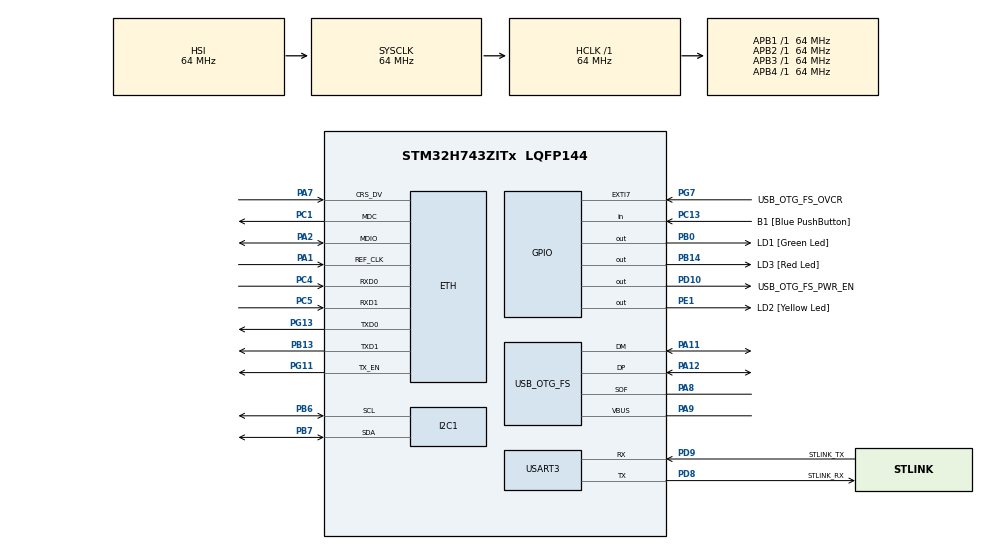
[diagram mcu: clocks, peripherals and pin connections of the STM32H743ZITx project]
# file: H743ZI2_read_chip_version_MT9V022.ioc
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ETH.MediaInterface=HAL_ETH_RMII_MODE
Mcu.Family=STM32H7
Mcu.Name=STM32H743ZITx
Mcu.Package=LQFP144
NVIC.PriorityGroup=NVIC_PRIORITYGROUP_4
PA1.Mode=RMII
PA1.Signal=ETH_REF_CLK
PA11.Mode=Device_Only
PA11.Signal=USB_OTG_FS_DM
PA12.Mode=Device_Only
PA12.Signal=USB_OTG_FS_DP
PA2.Mode=RMII
PA2.Signal=ETH_MDIO
PA7.Mode=RMII
PA7.Signal=ETH_CRS_DV
PA8.Mode=Activate_SOF_FS
PA8.Signal=USB_OTG_FS_SOF
PA9.Mode=Activate_VBUS
PA9.Signal=USB_OTG_FS_VBUS
PB0.GPIO_Label=LD1 [Green Led]
PB0.Signal=GPIO_Output
PB13.Mode=RMII
PB13.Signal=ETH_TXD1
PB14.GPIO_Label=LD3 [Red Led]
PB14.Signal=GPIO_Output
PB6.Mode=I2C
PB6.Signal=I2C1_SCL
PB7.Mode=I2C
PB7.Signal=I2C1_SDA
PC1.Mode=RMII
PC1.Signal=ETH_MDC
PC13.GPIO_Label=B1 [Blue PushButton]
PC13.Signal=GPIO_Input
PC14-OSC32_IN\ (OSC32_IN).Mode=LSE-External-Oscillator
PC14-OSC32_IN\ (OSC32_IN).Signal=RCC_OSC32_IN
PC15-OSC32_OUT\ (OSC32_OUT).Mode=LSE-External-Oscillator
PC15-OSC32_OUT\ (OSC32_OUT).Signal=RCC_OSC32_OUT
PC4.Mode=RMII
PC4.Signal=ETH_RXD0
PC5.Mode=RMII
PC5.Signal=ETH_RXD1
PD10.GPIO_Label=USB_OTG_FS_PWR_EN
PD10.Signal=GPIO_Output
PD8.GPIO_Label=STLINK_RX
PD8.Mode=Asynchronous
PD8.Signal=USART3_TX
PD9.GPIO_Label=STLINK_TX
PD9.Mode=Asynchronous
PD9.Signal=USART3_RX
PE1.GPIO_Label=LD2 [Yellow Led]
PE1.Signal=GPIO_Output
PG11.Mode=RMII
PG11.Signal=ETH_TX_EN
PG13.Mode=RMII
PG13.Signal=ETH_TXD0
PG7.GPIO_Label=USB_OTG_FS_OVCR
PG7.Signal=GPXTI7
PH0-OSC_IN\ (PH0).Mode=HSE-External-Clock-Source
PH0-OSC_IN\ (PH0).Signal=RCC_OSC_IN
PH1-OSC_OUT\ (PH1).Signal=RCC_OSC_OUT
ProjectManager.HeapSize=0x200
ProjectManager.StackSize=0x400
ProjectManager.TargetToolchain=STM32CubeIDE
RCC.ADCFreq_Value=16125000
RCC.APB1Freq_Value=64000000
RCC.APB2Freq_Value=64000000
RCC.APB3Freq_Value=64000000
RCC.APB4Freq_Value=64000000
RCC.CortexFreq_Value=64000000
RCC.DIVM1=1
RCC.DIVN1=24
RCC.DIVQ1=4
RCC.HCLKFreq_Value=64000000
RCC.HSE_VALUE=8000000
RCC.PLLFRACN=0
RCC.PWR_Regulator_Voltage_Scale=PWR_REGULATOR_VOLTAGE_SCALE2
RCC.SYSCLKFreq_VALUE=64000000
RCC.USBFreq_Value=48000000
USART3.VirtualMode-Asynchronous=VM_ASYNC
USB_OTG_FS.VirtualMode=Device_Only
board=NUCLEO-H743ZI2

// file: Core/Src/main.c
/* USER CODE BEGIN Header */
/**
  ******************************************************************************
  * @file           : main.c
  * @brief          : Main program body
  ******************************************************************************
  * @attention
  *
  * Copyright (c) 2022 STMicroelectronics.
  * All rights reserved.
  *
  * This software is licensed under terms that can be found in the LICENSE file
  * in the root directory of this software component.
  * If no LICENSE file comes with this software, it is provided AS-IS.
  *
  ******************************************************************************
  */
/* USER CODE END Header */
#include "main.h"
#include "string.h"

/* USER CODE BEGIN Includes */
#include <stdio.h>
/* USER CODE END Includes */

#if defined ( __ICCARM__ ) /*!< IAR Compiler */
#pragma location=0x30000000
ETH_DMADescTypeDef  DMARxDscrTab[ETH_RX_DESC_CNT]; /* Ethernet Rx DMA Descriptors */
#pragma location=0x30000200
ETH_DMADescTypeDef  DMATxDscrTab[ETH_TX_DESC_CNT]; /* Ethernet Tx DMA Descriptors */

#elif defined ( __CC_ARM )  /* MDK ARM Compiler */

__attribute__((at(0x30000000))) ETH_DMADescTypeDef  DMARxDscrTab[ETH_RX_DESC_CNT]; /* Ethernet Rx DMA Descriptors */
__attribute__((at(0x30000200))) ETH_DMADescTypeDef  DMATxDscrTab[ETH_TX_DESC_CNT]; /* Ethernet Tx DMA Descriptors */

#elif defined ( __GNUC__ ) /* GNU Compiler */
ETH_DMADescTypeDef DMARxDscrTab[ETH_RX_DESC_CNT] __attribute__((section(".RxDecripSection"))); /* Ethernet Rx DMA Descriptors */
ETH_DMADescTypeDef DMATxDscrTab[ETH_TX_DESC_CNT] __attribute__((section(".TxDecripSection")));   /* Ethernet Tx DMA Descriptors */

#endif

ETH_TxPacketConfig TxConfig;

ETH_HandleTypeDef heth;

I2C_HandleTypeDef hi2c1;

UART_HandleTypeDef huart3;

PCD_HandleTypeDef hpcd_USB_OTG_FS;

void SystemClock_Config(void);
static void MX_GPIO_Init(void);
static void MX_ETH_Init(void);
static void MX_USART3_UART_Init(void);
static void MX_USB_OTG_FS_PCD_Init(void);
static void MX_I2C1_Init(void);
/* USER CODE BEGIN PFP */
HAL_StatusTypeDef read_reg(uint8_t devaddr, uint8_t regaddr, uint8_t *buf);
HAL_StatusTypeDef write_reg(uint8_t devaddr, uint8_t regaddr, uint8_t val);
/* USER CODE END PFP */

int main(void)
{
  /* USER CODE BEGIN 1 */
  const uint8_t CAM_ADDR_R = 0x61; // camera address
  const uint8_t HSIZE_REGADDR = 0x51;
  uint8_t buf[20];
  HAL_StatusTypeDef ret;
  /* USER CODE END 1 */

  /* MCU Configuration--------------------------------------------------------*/

  /* Reset of all peripherals, Initializes the Flash interface and the Systick. */
  HAL_Init();

  /* Configure the system clock */
  SystemClock_Config();

  /* Initialize all configured peripherals */
  MX_GPIO_Init();
  MX_ETH_Init();
  MX_USART3_UART_Init();
  MX_USB_OTG_FS_PCD_Init();
  MX_I2C1_Init();

  /* Infinite loop */
  /* USER CODE BEGIN WHILE */
  while (1)
  {
//	write_reg(CAM_ADDR_R, HSIZE_REGADDR, 0xFF);
//	read_reg(CAM_ADDR_R, HSIZE_REGADDR, buf);
	  buf[0] = 0x40;
	  ret = HAL_I2C_Mem_Write(&hi2c1, CAM_ADDR_R, HSIZE_REGADDR, I2C_MEMADD_SIZE_8BIT, buf, 1, HAL_MAX_DELAY);
	  ret = HAL_I2C_Mem_Read(&hi2c1, CAM_ADDR_R, HSIZE_REGADDR, I2C_MEMADD_SIZE_8BIT, buf, 1, HAL_MAX_DELAY);

	  if (ret != HAL_OK) {
		sprintf((char*) buf, "Error\n\r");
	  }
	  else {
		sprintf((char*)buf, "%u \r\n", (unsigned int) buf[0]);
	  }

	  HAL_UART_Transmit(&huart3, (uint8_t *) buf, strlen((char *)buf), HAL_MAX_DELAY);

	HAL_Delay(1000);
    /* USER CODE END WHILE */

  }
}

void SystemClock_Config(void)
{
  RCC_OscInitTypeDef RCC_OscInitStruct = {0};
  RCC_ClkInitTypeDef RCC_ClkInitStruct = {0};

  /** Supply configuration update enable
  */
  HAL_PWREx_ConfigSupply(PWR_LDO_SUPPLY);

  /** Configure the main internal regulator output voltage
  */
  __HAL_PWR_VOLTAGESCALING_CONFIG(PWR_REGULATOR_VOLTAGE_SCALE2);

  while(!__HAL_PWR_GET_FLAG(PWR_FLAG_VOSRDY)) {}

  /** Initializes the RCC Oscillators according to the specified parameters
  * in the RCC_OscInitTypeDef structure.
  */
  RCC_OscInitStruct.OscillatorType = RCC_OSCILLATORTYPE_HSI|RCC_OSCILLATORTYPE_HSE;
  RCC_OscInitStruct.HSEState = RCC_HSE_BYPASS;
  RCC_OscInitStruct.HSIState = RCC_HSI_DIV1;
  RCC_OscInitStruct.HSICalibrationValue = RCC_HSICALIBRATION_DEFAULT;
  RCC_OscInitStruct.PLL.PLLState = RCC_PLL_ON;
  RCC_OscInitStruct.PLL.PLLSource = RCC_PLLSOURCE_HSE;
  RCC_OscInitStruct.PLL.PLLM = 1;
  RCC_OscInitStruct.PLL.PLLN = 24;
  RCC_OscInitStruct.PLL.PLLP = 2;
  RCC_OscInitStruct.PLL.PLLQ = 4;
  RCC_OscInitStruct.PLL.PLLR = 2;
  RCC_OscInitStruct.PLL.PLLRGE = RCC_PLL1VCIRANGE_3;
  RCC_OscInitStruct.PLL.PLLVCOSEL = RCC_PLL1VCOWIDE;
  RCC_OscInitStruct.PLL.PLLFRACN = 0;
  if (HAL_RCC_OscConfig(&RCC_OscInitStruct) != HAL_OK)
  {
    Error_Handler();
  }

  /** Initializes the CPU, AHB and APB buses clocks
  */
  RCC_ClkInitStruct.ClockType = RCC_CLOCKTYPE_HCLK|RCC_CLOCKTYPE_SYSCLK
                              |RCC_CLOCKTYPE_PCLK1|RCC_CLOCKTYPE_PCLK2
                              |RCC_CLOCKTYPE_D3PCLK1|RCC_CLOCKTYPE_D1PCLK1;
  RCC_ClkInitStruct.SYSCLKSource = RCC_SYSCLKSOURCE_HSI;
  RCC_ClkInitStruct.SYSCLKDivider = RCC_SYSCLK_DIV1;
  RCC_ClkInitStruct.AHBCLKDivider = RCC_HCLK_DIV1;
  RCC_ClkInitStruct.APB3CLKDivider = RCC_APB3_DIV1;
  RCC_ClkInitStruct.APB1CLKDivider = RCC_APB1_DIV1;
  RCC_ClkInitStruct.APB2CLKDivider = RCC_APB2_DIV1;
  RCC_ClkInitStruct.APB4CLKDivider = RCC_APB4_DIV1;

  if (HAL_RCC_ClockConfig(&RCC_ClkInitStruct, FLASH_LATENCY_1) != HAL_OK)
  {
    Error_Handler();
  }
}

static void MX_ETH_Init(void)
{

   static uint8_t MACAddr[6];

  heth.Instance = ETH;
  MACAddr[0] = 0x00;
  MACAddr[1] = 0x80;
  MACAddr[2] = 0xE1;
  MACAddr[3] = 0x00;
  MACAddr[4] = 0x00;
  MACAddr[5] = 0x00;
  heth.Init.MACAddr = &MACAddr[0];
  heth.Init.MediaInterface = HAL_ETH_RMII_MODE;
  heth.Init.TxDesc = DMATxDscrTab;
  heth.Init.RxDesc = DMARxDscrTab;
  heth.Init.RxBuffLen = 1524;

  if (HAL_ETH_Init(&heth) != HAL_OK)
  {
    Error_Handler();
  }

  memset(&TxConfig, 0 , sizeof(ETH_TxPacketConfig));
  TxConfig.Attributes = ETH_TX_PACKETS_FEATURES_CSUM | ETH_TX_PACKETS_FEATURES_CRCPAD;
  TxConfig.ChecksumCtrl = ETH_CHECKSUM_IPHDR_PAYLOAD_INSERT_PHDR_CALC;
  TxConfig.CRCPadCtrl = ETH_CRC_PAD_INSERT;

}

static void MX_I2C1_Init(void)
{

  hi2c1.Instance = I2C1;
  hi2c1.Init.Timing = 0x10707DBC;
  hi2c1.Init.OwnAddress1 = 0;
  hi2c1.Init.AddressingMode = I2C_ADDRESSINGMODE_7BIT;
  hi2c1.Init.DualAddressMode = I2C_DUALADDRESS_DISABLE;
  hi2c1.Init.OwnAddress2 = 0;
  hi2c1.Init.OwnAddress2Masks = I2C_OA2_NOMASK;
  hi2c1.Init.GeneralCallMode = I2C_GENERALCALL_DISABLE;
  hi2c1.Init.NoStretchMode = I2C_NOSTRETCH_DISABLE;
  if (HAL_I2C_Init(&hi2c1) != HAL_OK)
  {
    Error_Handler();
  }

  /** Configure Analogue filter
  */
  if (HAL_I2CEx_ConfigAnalogFilter(&hi2c1, I2C_ANALOGFILTER_ENABLE) != HAL_OK)
  {
    Error_Handler();
  }

  /** Configure Digital filter
  */
  if (HAL_I2CEx_ConfigDigitalFilter(&hi2c1, 0) != HAL_OK)
  {
    Error_Handler();
  }

}

static void MX_USART3_UART_Init(void)
{

  huart3.Instance = USART3;
  huart3.Init.BaudRate = 115200;
  huart3.Init.WordLength = UART_WORDLENGTH_8B;
  huart3.Init.StopBits = UART_STOPBITS_1;
  huart3.Init.Parity = UART_PARITY_NONE;
  huart3.Init.Mode = UART_MODE_TX_RX;
  huart3.Init.HwFlowCtl = UART_HWCONTROL_NONE;
  huart3.Init.OverSampling = UART_OVERSAMPLING_16;
  huart3.Init.OneBitSampling = UART_ONE_BIT_SAMPLE_DISABLE;
  huart3.Init.ClockPrescaler = UART_PRESCALER_DIV1;
  huart3.AdvancedInit.AdvFeatureInit = UART_ADVFEATURE_NO_INIT;
  if (HAL_UART_Init(&huart3) != HAL_OK)
  {
    Error_Handler();
  }
  if (HAL_UARTEx_SetTxFifoThreshold(&huart3, UART_TXFIFO_THRESHOLD_1_8) != HAL_OK)
  {
    Error_Handler();
  }
  if (HAL_UARTEx_SetRxFifoThreshold(&huart3, UART_RXFIFO_THRESHOLD_1_8) != HAL_OK)
  {
    Error_Handler();
  }
  if (HAL_UARTEx_DisableFifoMode(&huart3) != HAL_OK)
  {
    Error_Handler();
  }

}

static void MX_USB_OTG_FS_PCD_Init(void)
{

  hpcd_USB_OTG_FS.Instance = USB_OTG_FS;
  hpcd_USB_OTG_FS.Init.dev_endpoints = 9;
  hpcd_USB_OTG_FS.Init.speed = PCD_SPEED_FULL;
  hpcd_USB_OTG_FS.Init.dma_enable = DISABLE;
  hpcd_USB_OTG_FS.Init.phy_itface = PCD_PHY_EMBEDDED;
  hpcd_USB_OTG_FS.Init.Sof_enable = ENABLE;
  hpcd_USB_OTG_FS.Init.low_power_enable = DISABLE;
  hpcd_USB_OTG_FS.Init.lpm_enable = DISABLE;
  hpcd_USB_OTG_FS.Init.battery_charging_enable = ENABLE;
  hpcd_USB_OTG_FS.Init.vbus_sensing_enable = ENABLE;
  hpcd_USB_OTG_FS.Init.use_dedicated_ep1 = DISABLE;
  if (HAL_PCD_Init(&hpcd_USB_OTG_FS) != HAL_OK)
  {
    Error_Handler();
  }

}

static void MX_GPIO_Init(void)
{
  GPIO_InitTypeDef GPIO_InitStruct = {0};

  /* GPIO Ports Clock Enable */
  __HAL_RCC_GPIOC_CLK_ENABLE();
  __HAL_RCC_GPIOH_CLK_ENABLE();
  __HAL_RCC_GPIOA_CLK_ENABLE();
  __HAL_RCC_GPIOB_CLK_ENABLE();
  __HAL_RCC_GPIOD_CLK_ENABLE();
  __HAL_RCC_GPIOG_CLK_ENABLE();
  __HAL_RCC_GPIOE_CLK_ENABLE();

  /*Configure GPIO pin Output Level */
  HAL_GPIO_WritePin(GPIOB, LD1_Pin|LD3_Pin, GPIO_PIN_RESET);

  /*Configure GPIO pin Output Level */
  HAL_GPIO_WritePin(USB_OTG_FS_PWR_EN_GPIO_Port, USB_OTG_FS_PWR_EN_Pin, GPIO_PIN_RESET);

  /*Configure GPIO pin Output Level */
  HAL_GPIO_WritePin(LD2_GPIO_Port, LD2_Pin, GPIO_PIN_RESET);

  /*Configure GPIO pin : B1_Pin */
  GPIO_InitStruct.Pin = B1_Pin;
  GPIO_InitStruct.Mode = GPIO_MODE_INPUT;
  GPIO_InitStruct.Pull = GPIO_NOPULL;
  HAL_GPIO_Init(B1_GPIO_Port, &GPIO_InitStruct);

  /*Configure GPIO pins : LD1_Pin LD3_Pin */
  GPIO_InitStruct.Pin = LD1_Pin|LD3_Pin;
  GPIO_InitStruct.Mode = GPIO_MODE_OUTPUT_PP;
  GPIO_InitStruct.Pull = GPIO_NOPULL;
  GPIO_InitStruct.Speed = GPIO_SPEED_FREQ_LOW;
  HAL_GPIO_Init(GPIOB, &GPIO_InitStruct);

  /*Configure GPIO pin : USB_OTG_FS_PWR_EN_Pin */
  GPIO_InitStruct.Pin = USB_OTG_FS_PWR_EN_Pin;
  GPIO_InitStruct.Mode = GPIO_MODE_OUTPUT_PP;
  GPIO_InitStruct.Pull = GPIO_NOPULL;
  GPIO_InitStruct.Speed = GPIO_SPEED_FREQ_LOW;
  HAL_GPIO_Init(USB_OTG_FS_PWR_EN_GPIO_Port, &GPIO_InitStruct);

  /*Configure GPIO pin : USB_OTG_FS_OVCR_Pin */
  GPIO_InitStruct.Pin = USB_OTG_FS_OVCR_Pin;
  GPIO_InitStruct.Mode = GPIO_MODE_IT_RISING;
  GPIO_InitStruct.Pull = GPIO_NOPULL;
  HAL_GPIO_Init(USB_OTG_FS_OVCR_GPIO_Port, &GPIO_InitStruct);

  /*Configure GPIO pin : LD2_Pin */
  GPIO_InitStruct.Pin = LD2_Pin;
  GPIO_InitStruct.Mode = GPIO_MODE_OUTPUT_PP;
  GPIO_InitStruct.Pull = GPIO_NOPULL;
  GPIO_InitStruct.Speed = GPIO_SPEED_FREQ_LOW;
  HAL_GPIO_Init(LD2_GPIO_Port, &GPIO_InitStruct);

}

/* USER CODE BEGIN 4 */
HAL_StatusTypeDef read_reg(uint8_t devaddr, uint8_t regaddr, uint8_t *buf) {
	// Reads 1 byte from 7 bit device address and 8 bit register address.
	devaddr = devaddr | 0x01; // the read-write bit is 1 (read)
	HAL_StatusTypeDef ret;
	buf[0] = regaddr;
	ret = HAL_I2C_Master_Transmit(&hi2c1, devaddr, buf, 1, HAL_MAX_DELAY);

	if (ret != HAL_OK) {
		sprintf((char*) buf, "Error Tx\n\r");
	} else {
		ret = HAL_I2C_Master_Receive(&hi2c1, devaddr, buf, 1, HAL_MAX_DELAY);
		if (ret != HAL_OK) {
			sprintf((char*) buf, "Error Rx\n\r");
		}
		else {
			sprintf((char*)buf, "%u \r\n", (unsigned int) buf[0]);
		}
	}

	HAL_UART_Transmit(&huart3, (uint8_t *) buf, strlen((char *)buf), HAL_MAX_DELAY);

	return ret;
}

HAL_StatusTypeDef write_reg(uint8_t devaddr, uint8_t regaddr, uint8_t val) {
	// Writes 1 byte to 7 bit device address and 8 bit register address.
	uint8_t buf[12];
	devaddr = devaddr & 0xFE; // the read-write bit is 0 (write)
	HAL_StatusTypeDef ret;
	buf[0] = regaddr;
	buf[1] = val;
	ret = HAL_I2C_Master_Transmit(&hi2c1, devaddr, buf, 2, HAL_MAX_DELAY);
	if (ret != HAL_OK) {
		sprintf((char*) buf, "Error \n\r");
	}
	else {
		sprintf((char*)buf, "OK \r\n");
	}

	HAL_UART_Transmit(&huart3, (uint8_t *) buf, strlen((char *)buf), HAL_MAX_DELAY);

	return ret;
}
/* USER CODE END 4 */

void Error_Handler(void)
{
  __disable_irq();
  while (1)
  {
  }
}
